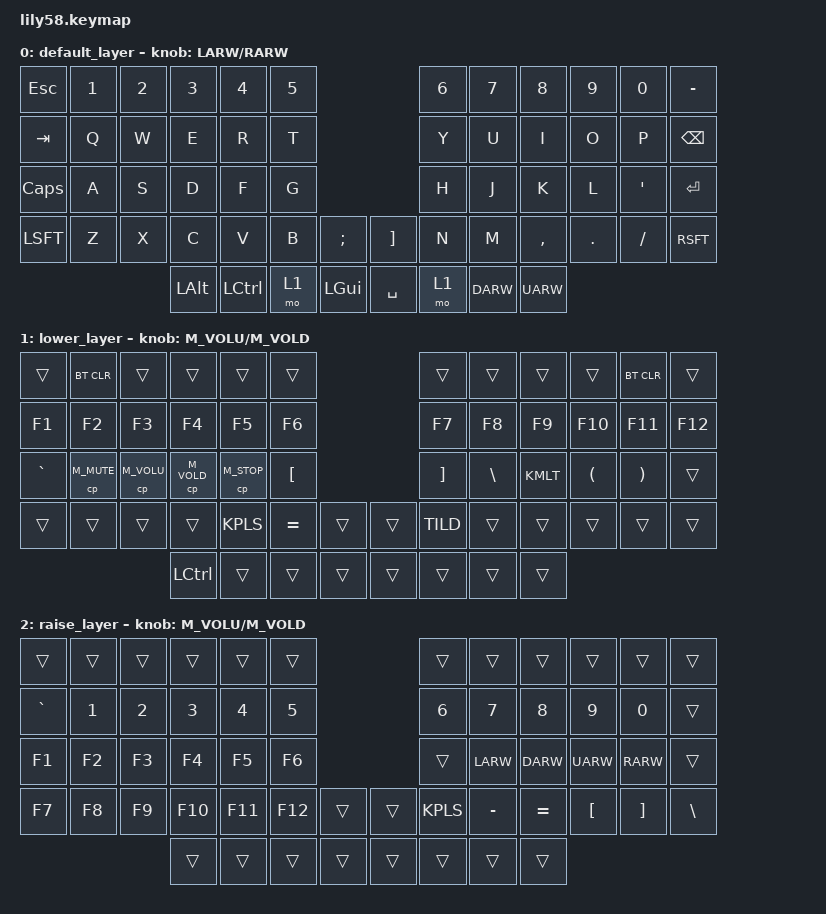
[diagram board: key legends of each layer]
#include <behaviors.dtsi>
#include <dt-bindings/zmk/keys.h>
#include <dt-bindings/zmk/bt.h>
/ {
	keymap {
		compatible = "zmk,keymap";
  
		default_layer {
// ------------------------------------------------------------------------------------------------------------
// |  ESC  |  1  |  2  |  3   |  4   |  5   |                   |  6   |  7    |  8    |  9   |   0   |   `   |
// |  TAB  |  Q  |  W  |  E   |  R   |  T   |                   |  Y   |  U    |  I    |  O   |   P   |   -   |
// |  CTRL |  A  |  S  |  D   |  F   |  G   |                   |  H   |  J    |  K    |  L   |   ;   |   '   |
// | SHIFT |  Z  |  X  |  C   |  V   |  B   |   "["  |  |  "]"  |  N   |  M    |  ,    |  .   |   /   | SHIFT |
//                     | ALT  | GUI  | LOWER|  SPACE |  | ENTER | RAISE| BSPC  | GUI   |
			bindings = <
&kp ESC  &kp NUM_1 &kp NUM_2 &kp NUM_3 &kp NUM_4 &kp NUM_5                    &kp NUM_6 &kp NUM_7 &kp NUM_8 &kp NUM_9 &kp NUM_0 &kp MINUS
&kp TAB  &kp Q     &kp W     &kp E     &kp R     &kp T                        &kp Y     &kp U     &kp I     &kp O     &kp P     &kp BKSP
&kp CLCK &kp A     &kp S     &kp D     &kp F     &kp G                        &kp H     &kp J     &kp K     &kp L     &kp QUOT  &kp RET
&kp LSFT &kp Z     &kp X     &kp C     &kp V     &kp B   &kp SCLN   &kp RBKT  &kp N     &kp M     &kp CMMA  &kp DOT   &kp FSLH  &kp RSFT
                             &kp LALT  &kp LCTL  &mo 1   &kp LGUI   &kp SPC   &mo 1     &kp DARW  &kp UARW
			>;

			sensor-bindings = <&inc_dec_kp LARW RARW>;
		};

		lower_layer {
// ------------------------------------------------------------------------------------------------------------
// |       |     |     |      |      |      |                   |      |       |       |      |       |       |
// |  F1   |  F2 |  F3 |  F4  |  F5  |  F6  |                   |  F7  |  F8   |  F9   |  F10 |  F11  |  F12  |
// |   `   |  !  |  @  |  #   |  $   |  %   |                   |  ^   |  &    |  *    |  (   |   )   |   ~   |
// |       |     |     |      |      |      |        |  |       |      |  _    |  +    |  {   |   }   |  "|"  |
//                     |      |      |      |        |  |       |      |       |       |
			bindings = <
&trans   &bt BT_CLR      &trans          &trans          &trans          &trans                       &trans    &trans          &trans          &trans     &bt BT_CLR &trans
&kp F1   &kp F2          &kp F3          &kp F4          &kp F5          &kp F6                       &kp F7    &kp F8          &kp F9          &kp F10    &kp F11    &kp F12
&kp GRAV &cp M_MUTE      &cp M_VOLU      &cp M_VOLD      &cp M_STOP      &kp LBKT                     &kp RBKT  &kp BSLH        &kp KMLT        &kp LPRN   &kp RPRN   &trans
&trans   &trans          &trans          &trans          &kp KPLS        &kp EQL   &trans    &trans   &kp TILD  &trans          &trans          &trans     &trans     &trans
                                         &kp LCTL        &trans          &trans    &trans    &trans   &trans    &trans          &trans
			>;

			sensor-bindings = <&inc_dec_cp M_VOLU M_VOLD>;
		};

		raise_layer {
// ------------------------------------------------------------------------------------------------------------
// |       |     |     |      |      |      |                   |      |       |       |      |       |       |
// |   `   |  1  |  2  |  3   |  4   |  5   |                   |  6   |   7   |   8   |  9   |   0   |       |
// |   F1  |  F2 |  F3 |  F4  |  F5  |  F6  |                   |      |   <-  |   ^   |  v   |  ->   |       |
// |   F7  |  F8 |  F9 |  F10 |  F11 |  F12 |        |  |       |  +   |   -   |   =   |  [   |   ]   |   \   |
//                     |      |      |      |        |  |       |      |       |       |
			bindings = <
&trans   &trans    &trans    &trans    &trans    &trans                       &trans    &trans    &trans    &trans    &trans    &trans
&kp GRAV &kp NUM_1 &kp NUM_2 &kp NUM_3 &kp NUM_4 &kp NUM_5                    &kp NUM_6 &kp NUM_7 &kp NUM_8 &kp NUM_9 &kp NUM_0 &trans
&kp F1   &kp F2    &kp F3    &kp F4    &kp F5    &kp F6                       &trans    &kp LARW  &kp DARW  &kp UARW  &kp RARW  &trans
&kp F7   &kp F8    &kp F9    &kp F10   &kp F11   &kp F12   &trans   &trans    &kp KPLS  &kp MINUS &kp EQL   &kp LBKT  &kp RBKT  &kp BSLH
                   &trans    &trans    &trans    &trans                       &trans    &trans    &trans    &trans
			>;

			sensor-bindings = <&inc_dec_cp M_VOLU M_VOLD>;
		};
	};
};
